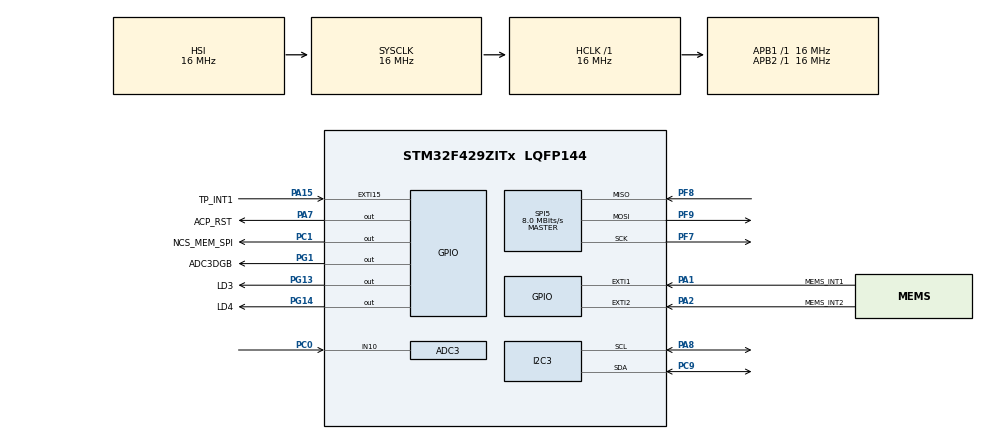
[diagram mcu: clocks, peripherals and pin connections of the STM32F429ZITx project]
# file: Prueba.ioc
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ADC3.Channel-20\#ChannelRegularConversion=ADC_CHANNEL_10
ADC3.Channel-21\#ChannelRegularConversion=ADC_CHANNEL_10
ADC3.Channel-22\#ChannelRegularConversion=ADC_CHANNEL_10
ADC3.Channel-23\#ChannelRegularConversion=ADC_CHANNEL_10
ADC3.Channel-24\#ChannelRegularConversion=ADC_CHANNEL_10
ADC3.Channel-25\#ChannelRegularConversion=ADC_CHANNEL_10
ADC3.Channel-26\#ChannelRegularConversion=ADC_CHANNEL_10
ADC3.Channel-27\#ChannelRegularConversion=ADC_CHANNEL_10
ADC3.Channel-28\#ChannelRegularConversion=ADC_CHANNEL_10
ADC3.Channel-29\#ChannelRegularConversion=ADC_CHANNEL_10
ADC3.Channel-30\#ChannelRegularConversion=ADC_CHANNEL_10
ADC3.Channel-31\#ChannelRegularConversion=ADC_CHANNEL_10
ADC3.Channel-4\#ChannelRegularConversion=ADC_CHANNEL_10
ADC3.Channel-5\#ChannelRegularConversion=ADC_CHANNEL_10
ADC3.Channel-6\#ChannelRegularConversion=ADC_CHANNEL_10
ADC3.Channel-7\#ChannelRegularConversion=ADC_CHANNEL_10
ADC3.NbrOfConversion=16
ADC3.NbrOfConversionFlag=1
ADC3.Rank-20\#ChannelRegularConversion=5
ADC3.Rank-21\#ChannelRegularConversion=6
ADC3.Rank-22\#ChannelRegularConversion=7
ADC3.Rank-23\#ChannelRegularConversion=8
ADC3.Rank-24\#ChannelRegularConversion=9
ADC3.Rank-25\#ChannelRegularConversion=10
ADC3.Rank-26\#ChannelRegularConversion=11
ADC3.Rank-27\#ChannelRegularConversion=12
ADC3.Rank-28\#ChannelRegularConversion=13
ADC3.Rank-29\#ChannelRegularConversion=14
ADC3.Rank-30\#ChannelRegularConversion=15
ADC3.Rank-31\#ChannelRegularConversion=16
ADC3.Rank-4\#ChannelRegularConversion=1
ADC3.Rank-5\#ChannelRegularConversion=2
ADC3.Rank-6\#ChannelRegularConversion=3
ADC3.Rank-7\#ChannelRegularConversion=4
ADC3.Resolution=ADC_RESOLUTION_12B
ADC3.SamplingTime-20\#ChannelRegularConversion=ADC_SAMPLETIME_3CYCLES
ADC3.SamplingTime-21\#ChannelRegularConversion=ADC_SAMPLETIME_3CYCLES
ADC3.SamplingTime-22\#ChannelRegularConversion=ADC_SAMPLETIME_3CYCLES
ADC3.SamplingTime-23\#ChannelRegularConversion=ADC_SAMPLETIME_3CYCLES
ADC3.SamplingTime-24\#ChannelRegularConversion=ADC_SAMPLETIME_3CYCLES
ADC3.SamplingTime-25\#ChannelRegularConversion=ADC_SAMPLETIME_3CYCLES
ADC3.SamplingTime-26\#ChannelRegularConversion=ADC_SAMPLETIME_3CYCLES
ADC3.SamplingTime-27\#ChannelRegularConversion=ADC_SAMPLETIME_3CYCLES
ADC3.SamplingTime-28\#ChannelRegularConversion=ADC_SAMPLETIME_3CYCLES
ADC3.SamplingTime-29\#ChannelRegularConversion=ADC_SAMPLETIME_3CYCLES
ADC3.SamplingTime-30\#ChannelRegularConversion=ADC_SAMPLETIME_3CYCLES
ADC3.SamplingTime-31\#ChannelRegularConversion=ADC_SAMPLETIME_3CYCLES
ADC3.SamplingTime-4\#ChannelRegularConversion=ADC_SAMPLETIME_3CYCLES
ADC3.SamplingTime-5\#ChannelRegularConversion=ADC_SAMPLETIME_3CYCLES
ADC3.SamplingTime-6\#ChannelRegularConversion=ADC_SAMPLETIME_3CYCLES
ADC3.SamplingTime-7\#ChannelRegularConversion=ADC_SAMPLETIME_3CYCLES
Dma.ADC3.0.Direction=DMA_PERIPH_TO_MEMORY
Dma.ADC3.0.FIFOMode=DMA_FIFOMODE_DISABLE
Dma.ADC3.0.Instance=DMA2_Stream0
Dma.ADC3.0.MemDataAlignment=DMA_MDATAALIGN_HALFWORD
Dma.ADC3.0.MemInc=DMA_MINC_ENABLE
Dma.ADC3.0.Mode=DMA_CIRCULAR
Dma.ADC3.0.PeriphDataAlignment=DMA_PDATAALIGN_HALFWORD
Dma.ADC3.0.PeriphInc=DMA_PINC_DISABLE
Dma.ADC3.0.Priority=DMA_PRIORITY_LOW
Dma.Request0=ADC3
Mcu.Family=STM32F4
Mcu.Name=STM32F429ZITx
Mcu.Package=LQFP144
NVIC.DMA2_Stream0_IRQn=true\:0\:0\:false\:false\:true\:false\:true\:true
NVIC.PriorityGroup=NVIC_PRIORITYGROUP_4
NVIC.SPI5_IRQn=true\:0\:0\:false\:false\:true\:true\:true\:true
PA1.GPIO_Label=MEMS_INT1
PA1.Signal=GPXTI1
PA15.GPIO_Label=TP_INT1
PA15.Signal=GPXTI15
PA2.GPIO_Label=MEMS_INT2
PA2.Signal=GPXTI2
PA7.GPIO_Label=ACP_RST
PA7.Signal=GPIO_Output
PA8.Mode=I2C
PA8.Signal=I2C3_SCL
PC0.Signal=ADCx_IN10
PC1.GPIO_Label=NCS_MEM_SPI
PC1.Signal=GPIO_Output
PC9.Mode=I2C
PC9.Signal=I2C3_SDA
PF7.Mode=Full_Duplex_Master
PF7.Signal=SPI5_SCK
PF8.Mode=Full_Duplex_Master
PF8.Signal=SPI5_MISO
PF9.Mode=Full_Duplex_Master
PF9.Signal=SPI5_MOSI
PG1.GPIO_Label=ADC3DGB
PG1.Signal=GPIO_Output
PG13.GPIO_Label=LD3
PG13.Signal=GPIO_Output
PG14.GPIO_Label=LD4
PG14.Signal=GPIO_Output
ProjectManager.HeapSize=0x200
ProjectManager.StackSize=0x400
ProjectManager.TargetToolchain=STM32CubeIDE
RCC.AHBFreq_Value=16000000
RCC.APB1Freq_Value=16000000
RCC.APB2Freq_Value=16000000
RCC.CortexFreq_Value=16000000
RCC.HSE_VALUE=25000000
RCC.HSI_VALUE=16000000
RCC.LSE_VALUE=32768
RCC.SYSCLKFreq_VALUE=16000000
RCC.VCOOutputFreq_Value=192000000
SH.ADCx_IN10.0=ADC3_IN10,IN10
SPI5.CalculateBaudRate=8.0 MBits/s
SPI5.Direction=SPI_DIRECTION_2LINES
SPI5.Mode=SPI_MODE_MASTER
SPI5.VirtualType=VM_MASTER
VP_CRC_VS_CRC.Mode=CRC_Activate
board=custom

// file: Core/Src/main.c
/* USER CODE BEGIN Header */
/**
  ******************************************************************************
  * @file           : main.c
  * @brief          : Main program body
  ******************************************************************************
  * @attention
  *
  * Copyright (c) 2023 STMicroelectronics.
  * All rights reserved.
  *
  * This software is licensed under terms that can be found in the LICENSE file
  * in the root directory of this software component.
  * If no LICENSE file comes with this software, it is provided AS-IS.
  *
  ******************************************************************************
  */
/* USER CODE END Header */
#include "main.h"
#include "adc.h"
#include "crc.h"
#include "dma.h"
#include "i2c.h"
#include "spi.h"
#include "gpio.h"

/* USER CODE BEGIN PTD */
typedef struct __attribute__((__packed__))
{
    double temperatura;
}myData;
/* USER CODE END PTD */

/* USER CODE BEGIN PD */
#define ADC_BUF_LEN 16
/* USER CODE END PD */

/* USER CODE BEGIN PV */
uint16_t adc_buf[ADC_BUF_LEN];
myData datosLeidos;
/* USER CODE END PV */

void SystemClock_Config(void);

int main(void)
{

  /* MCU Configuration--------------------------------------------------------*/

  /* Reset of all peripherals, Initializes the Flash interface and the Systick. */
    HAL_Init();

  /* Configure the system clock */
  SystemClock_Config();

  /* Initialize all configured peripherals */
  MX_GPIO_Init();
  MX_DMA_Init();
  MX_ADC3_Init();
  MX_CRC_Init();
  MX_I2C3_Init();
  MX_SPI5_Init();
  /* USER CODE BEGIN 2 */

 // HAL_ADCEx_Calibration_Start(&hadc3, ADC_SINGLE_ENDED);

  // Calibrate The ADC On Power-Up For Better Accuracy
  HAL_GPIO_WritePin(ADC3DGB_GPIO_Port,ADC3DGB_Pin, GPIO_PIN_SET);
  HAL_ADC_Start_DMA(&hadc3,(uint32_t*)adc_buf,ADC_BUF_LEN);

  /* USER CODE END 2 */

  /* Infinite loop */
  while (1)
  {

    /* USER CODE BEGIN 3 */
	HAL_GPIO_WritePin(ADC3DGB_GPIO_Port,ADC3DGB_Pin, GPIO_PIN_SET);
	HAL_ADC_Start_DMA(&hadc3,(uint32_t*)adc_buf,ADC_BUF_LEN);
	HAL_GPIO_WritePin(LD3_GPIO_Port,LD3_Pin, GPIO_PIN_SET);
	HAL_GPIO_WritePin(LD4_GPIO_Port,LD4_Pin, GPIO_PIN_RESET);
	HAL_Delay(500);
	HAL_GPIO_WritePin(LD3_GPIO_Port,LD3_Pin,GPIO_PIN_RESET);
	HAL_GPIO_WritePin(LD4_GPIO_Port,LD4_Pin,GPIO_PIN_SET);
	HAL_Delay(500);
  }
  /* USER CODE END 3 */
}

void SystemClock_Config(void)
{
  RCC_OscInitTypeDef RCC_OscInitStruct = {0};
  RCC_ClkInitTypeDef RCC_ClkInitStruct = {0};

  /** Configure the main internal regulator output voltage
  */
  __HAL_RCC_PWR_CLK_ENABLE();
  __HAL_PWR_VOLTAGESCALING_CONFIG(PWR_REGULATOR_VOLTAGE_SCALE3);

  /** Initializes the RCC Oscillators according to the specified parameters
  * in the RCC_OscInitTypeDef structure.
  */
  RCC_OscInitStruct.OscillatorType = RCC_OSCILLATORTYPE_HSI;
  RCC_OscInitStruct.HSIState = RCC_HSI_ON;
  RCC_OscInitStruct.HSICalibrationValue = RCC_HSICALIBRATION_DEFAULT;
  RCC_OscInitStruct.PLL.PLLState = RCC_PLL_NONE;
  if (HAL_RCC_OscConfig(&RCC_OscInitStruct) != HAL_OK)
  {
    Error_Handler();
  }

  /** Initializes the CPU, AHB and APB buses clocks
  */
  RCC_ClkInitStruct.ClockType = RCC_CLOCKTYPE_HCLK|RCC_CLOCKTYPE_SYSCLK
                              |RCC_CLOCKTYPE_PCLK1|RCC_CLOCKTYPE_PCLK2;
  RCC_ClkInitStruct.SYSCLKSource = RCC_SYSCLKSOURCE_HSI;
  RCC_ClkInitStruct.AHBCLKDivider = RCC_SYSCLK_DIV1;
  RCC_ClkInitStruct.APB1CLKDivider = RCC_HCLK_DIV1;
  RCC_ClkInitStruct.APB2CLKDivider = RCC_HCLK_DIV1;

  if (HAL_RCC_ClockConfig(&RCC_ClkInitStruct, FLASH_LATENCY_0) != HAL_OK)
  {
    Error_Handler();
  }
}

/* USER CODE BEGIN 4 */
// Regular conversion half DMA transfer callback in non blocking mode
void HAL_ADC_ConvHalfCpltCallback(ADC_HandleTypeDef* hadc) {

}

// Called when buffer is completely filled
void HAL_ADC_ConvCpltCallback(ADC_HandleTypeDef* hadc) {
	HAL_GPIO_WritePin(ADC3DGB_GPIO_Port,ADC3DGB_Pin, GPIO_PIN_RESET);
	int vout=0;
	for (int i=0; i <ADC_BUF_LEN; i++ )
	{
		vout += 3000 * adc_buf[i] / 4096;
		adc_buf[i]=0;
	}
	datosLeidos.temperatura = (float)vout /10.0;
	datosLeidos.temperatura /= (float)ADC_BUF_LEN;
}
/* USER CODE END 4 */

void Error_Handler(void)
{
  __disable_irq();
  while (1)
  {
  }
}
